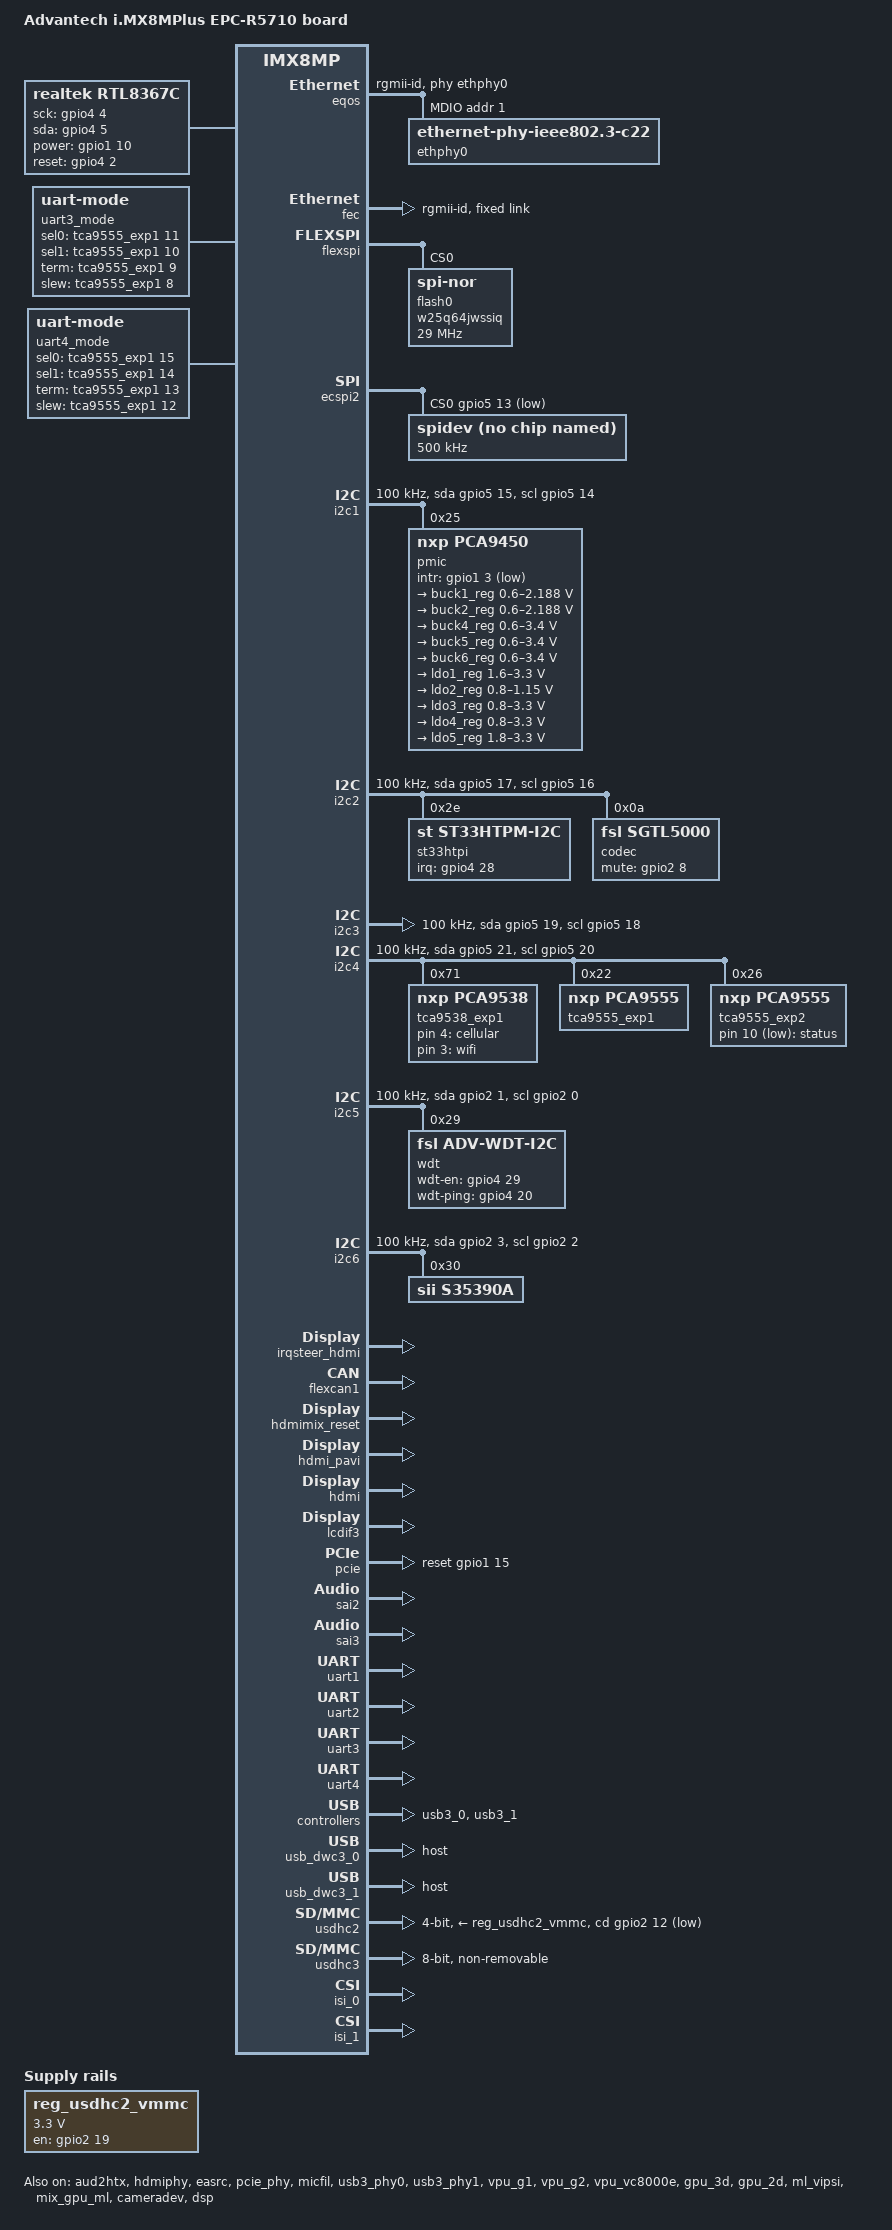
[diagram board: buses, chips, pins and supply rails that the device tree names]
// SPDX-License-Identifier: (GPL-2.0+ OR MIT)
/*
 * Copyright 2019 NXP
 */

/dts-v1/;

#include <dt-bindings/usb/pd.h>
#include "imx8mp.dtsi"

/ {
	model = "Advantech i.MX8MPlus EPC-R5710 board";
	compatible = "fsl,imx8mp-evk", "fsl,imx8mp";

	board {
		compatible = "proc-board";
		board-type = "EPC-R5710 A1";
		board-cpu = "IMX8MP";
	};

	aliases {
		rtc0 = &s35390a;
		rtc1 = &snvs_rtc;
	};

	reserved-memory {
		#address-cells = <2>;
		#size-cells = <2>;
		ranges;

		rpmsg_reserved: rpmsg@0x55800000 {
			no-map;
			reg = <0 0x55800000 0 0x800000>;
		};
	};

	chosen {
		stdout-path = &uart2;
	};

	reg_usdhc2_vmmc: regulator-usdhc2 {
		compatible = "regulator-fixed";
		regulator-name = "VSD_3V3";
		regulator-min-microvolt = <3300000>;
		regulator-max-microvolt = <3300000>;
		gpio = <&gpio2 19 GPIO_ACTIVE_HIGH>;
		enable-active-high;
		startup-delay-us = <100>;
		off-on-delay-us = <12000>;
	};

	sound-hdmi {
		compatible = "fsl,imx-audio-cdnhdmi";
		model = "audio-hdmi";
		audio-cpu = <&aud2htx>;
		hdmi-out;
		constraint-rate = <44100>,
				<88200>,
				<176400>,
				<32000>,
				<48000>,
				<96000>,
				<192000>;
		status = "okay";
	};

	sound {
		compatible = "fsl,sgtl5000", "fsl,imx-audio-sgtl5000";
		model = "sgtl5000";
		codec-master;
		ssi-controller = <&sai3>;
		audio-codec = <&codec>;
		audio-routing =
			"MIC_IN", "Mic Jack",
			"Mic Jack", "Mic Bias",
			"Line Out Jack", "LINE_OUT";
		no-audmux;
	};

	sound-micfil {
		compatible = "fsl,imx-audio-micfil";
		model = "imx-audio-micfil";
		cpu-dai = <&micfil>;
	};

	rtl8367c:rtl8367c {
		compatible = "realtek,rtl8367c";
		pinctrl-names = "default";
		pinctrl-0 = <&pinctrl_switch>;
		gpio-sck = <&gpio4 4 GPIO_ACTIVE_HIGH>;
		gpio-sda = <&gpio4 5 GPIO_ACTIVE_HIGH>;
		power-gpio = <&gpio1 10 GPIO_ACTIVE_HIGH>;
		reset-gpio = <&gpio4 2 GPIO_ACTIVE_HIGH>;
		status = "okay";
	};

	leds {
		compatible = "gpio-leds";
		status = "okay";

		status {
			label = "status";
			gpios = <&tca9555_exp2 10 GPIO_ACTIVE_LOW>;
			default-state = "off";
		};

		cellular {
			label = "cellular";
			gpios = <&tca9538_exp1 4 GPIO_ACTIVE_HIGH>;
			default-state = "off";
		};

		wifi {
			label = "wifi";
			gpios = <&tca9538_exp1 3 GPIO_ACTIVE_HIGH>;
			default-state = "off";
		};
	};

	uart3_mode:uart3-mode {
		compatible = "uart-mode";
		status = "okay";

		index = <2>;
		default_mode = <1>;//0:RS232,1:RS485,2:RS422
		rs232_mode_table = <1 0 1 0>;
		rs485_mode_table = <0 1 1 0>;
		rs422_mode_table = <1 1 1 0>;

		sel0_gpio = <&tca9555_exp1 11 GPIO_ACTIVE_HIGH>;
		sel1_gpio = <&tca9555_exp1 10 GPIO_ACTIVE_HIGH>;
		term_gpio = <&tca9555_exp1 9 GPIO_ACTIVE_HIGH>;
		slew_gpio = <&tca9555_exp1 8 GPIO_ACTIVE_HIGH>;
	};

	uart4_mode:uart4-mode {
		compatible = "uart-mode";
		status = "okay";

		index = <3>;
		default_mode = <1>;//0:RS232,1:RS485,2:RS422
		rs232_mode_table = <1 0 1 0>;
		rs485_mode_table = <0 1 1 0>;
		rs422_mode_table = <1 1 1 0>;

		sel0_gpio = <&tca9555_exp1 15 GPIO_ACTIVE_HIGH>;
		sel1_gpio = <&tca9555_exp1 14 GPIO_ACTIVE_HIGH>;
		term_gpio = <&tca9555_exp1 13 GPIO_ACTIVE_HIGH>;
		slew_gpio = <&tca9555_exp1 12 GPIO_ACTIVE_HIGH>;
	};
};

&aud2htx {
	status = "okay";
};

&clk {
	init-on-array = <IMX8MP_CLK_HSIO_ROOT>;
};

&A53_0 {
	cpu-supply = <&buck2_reg>;
};

&eqos {
	pinctrl-names = "default";
	pinctrl-0 = <&pinctrl_eqos>;
	phy-mode = "rgmii-id";
	phy-handle = <&ethphy0>;
	snps,reset-gpios = <&gpio4 25 GPIO_ACTIVE_LOW>;
	snps,reset-delays-us = <10000 70000 200000>;
	status = "okay";
	
	mdio {
		compatible = "snps,dwmac-mdio";
		#address-cells = <1>;
		#size-cells = <0>;

		ethphy0: ethernet-phy@1 {
			compatible = "ethernet-phy-ieee802.3-c22";
			reg = <1>;
			eee-broken-1000t;
			at803x,eee-disabled;
			at803x,vddio-1p8v;
		};
	};
};

&fec {
	pinctrl-names = "default";
	pinctrl-0 = <&pinctrl_fec>;
	phy-mode = "rgmii-id";
	//phy-handle = <&ethphy1>;
	fsl,magic-packet;
	status = "okay";
	fixed-link { 
		speed = <1000>;
		full-duplex;
  	};
};

&flexspi {
	pinctrl-names = "default";
	pinctrl-0 = <&pinctrl_flexspi0>;
	status = "okay";

	flash0: w25q64jwssiq@0 {
		reg = <0>;
		#address-cells = <1>;
		#size-cells = <1>;
		compatible = "jedec,spi-nor", "winbond,w25q64";
		spi-max-frequency = <29000000>;
		spi-tx-bus-width = <4>;
		spi-rx-bus-width = <4>;
	};
};

&ecspi2 {
	#address-cells = <1>;
	#size-cells = <0>;
	fsl,spi-num-chipselects = <1>;
	pinctrl-names = "default";
	pinctrl-0 = <&pinctrl_ecspi2 &pinctrl_ecspi2_cs>;
	cs-gpios = <&gpio5 13 GPIO_ACTIVE_LOW>;
	status = "okay";

	spidev@0 {
		compatible = "imx8,spidev";
		reg = <0>;
		spi-max-frequency = <500000>;
	};
};

&i2c1 {
	clock-frequency = <100000>;
	pinctrl-names = "default", "gpio";
	pinctrl-0 = <&pinctrl_i2c1>;
	pinctrl-1 = <&pinctrl_i2c1_gpio>;
	scl-gpios = <&gpio5 14 GPIO_ACTIVE_HIGH>;
	sda-gpios = <&gpio5 15 GPIO_ACTIVE_HIGH>;
	status = "okay";

	pmic: pca9450@25 {
		reg = <0x25>;
		compatible = "nxp,pca9450";
		/* PMIC PCA9450 PMIC_nINT GPIO1_IO3 */
		pinctrl-0 = <&pinctrl_pmic>;
		gpio_intr = <&gpio1 3 GPIO_ACTIVE_LOW>;

		regulators {
			#address-cells = <1>;
			#size-cells = <0>;

			pca9450,pmic-buck2-uses-i2c-dvs;
			/* Run/Standby voltage */
			pca9450,pmic-buck2-dvs-voltage = <950000>, <850000>;

			buck1_reg: regulator@0 {
				reg = <0>;
				regulator-compatible = "buck1";
				regulator-min-microvolt = <600000>;
				regulator-max-microvolt = <2187500>;
				regulator-boot-on;
				regulator-always-on;
				regulator-ramp-delay = <3125>;
			};

			buck2_reg: regulator@1 {
				reg = <1>;
				regulator-compatible = "buck2";
				regulator-min-microvolt = <600000>;
				regulator-max-microvolt = <2187500>;
				regulator-boot-on;
				regulator-always-on;
				regulator-ramp-delay = <3125>;
			};

			buck4_reg: regulator@3 {
				reg = <3>;
				regulator-compatible = "buck4";
				regulator-min-microvolt = <600000>;
				regulator-max-microvolt = <3400000>;
				regulator-boot-on;
				regulator-always-on;
			};

			buck5_reg: regulator@4 {
				reg = <4>;
				regulator-compatible = "buck5";
				regulator-min-microvolt = <600000>;
				regulator-max-microvolt = <3400000>;
				regulator-boot-on;
				regulator-always-on;
			};

			buck6_reg: regulator@5 {
				reg = <5>;
				regulator-compatible = "buck6";
				regulator-min-microvolt = <600000>;
				regulator-max-microvolt = <3400000>;
				regulator-boot-on;
				regulator-always-on;
			};

			ldo1_reg: regulator@6 {
				reg = <6>;
				regulator-compatible = "ldo1";
				regulator-min-microvolt = <1600000>;
				regulator-max-microvolt = <3300000>;
				regulator-boot-on;
				regulator-always-on;
			};

			ldo2_reg: regulator@7 {
				reg = <7>;
				regulator-compatible = "ldo2";
				regulator-min-microvolt = <800000>;
				regulator-max-microvolt = <1150000>;
				regulator-boot-on;
				regulator-always-on;
			};

			ldo3_reg: regulator@8 {
				reg = <8>;
				regulator-compatible = "ldo3";
				regulator-min-microvolt = <800000>;
				regulator-max-microvolt = <3300000>;
				regulator-boot-on;
				regulator-always-on;
			};

			ldo4_reg: regulator@9 {
				reg = <9>;
				regulator-compatible = "ldo4";
				regulator-min-microvolt = <800000>;
				regulator-max-microvolt = <3300000>;
				regulator-boot-on;
				regulator-always-on;
			};

			ldo5_reg: regulator@10 {
				reg = <10>;
				regulator-compatible = "ldo5";
				regulator-min-microvolt = <1800000>;
				regulator-max-microvolt = <3300000>;
			};
		};
	};
};

&i2c2 {
	clock-frequency = <100000>;
	pinctrl-names = "default", "gpio";
	pinctrl-0 = <&pinctrl_i2c2>;
	pinctrl-1 = <&pinctrl_i2c2_gpio>;
	scl-gpios = <&gpio5 16 GPIO_ACTIVE_HIGH>;
	sda-gpios = <&gpio5 17 GPIO_ACTIVE_HIGH>;
	status = "okay";
	st33htpi: st33htpi@2e {
		compatible = "st,st33htpm-i2c";
		reg = <0x2e>;
		pinctrl-names = "default";
		pinctrl-0 = <&pinctrl_tpm>;
		interrupt-parent = <&gpio4>;
		interrupts = <28 IRQ_TYPE_LEVEL_HIGH>;
	};
	codec: sgtl5000@a {
		compatible = "fsl,sgtl5000";
		reg = <0x0a>;
		pinctrl-0 = <&pinctrl_sgtl5000>;
		//mute-gpios = <&tca9555_exp2 3 GPIO_ACTIVE_HIGH>;//audio 
		mute-gpios = <&gpio2 8  GPIO_ACTIVE_HIGH>;//audio mute
		clocks = <&audiomix_clk IMX8MP_CLK_AUDIOMIX_SAI3_MCLK1>;
		clock-names = "mclk";
		pinctrl-names = "default";
	};
};

&i2c3 {
	clock-frequency = <100000>;
	pinctrl-names = "default", "gpio";
	pinctrl-0 = <&pinctrl_i2c3>;
	pinctrl-1 = <&pinctrl_i2c3_gpio>;
	scl-gpios = <&gpio5 18 GPIO_ACTIVE_HIGH>;
	sda-gpios = <&gpio5 19 GPIO_ACTIVE_HIGH>;
	status = "okay";
	
};

&i2c4 {
	clock-frequency = <100000>;
	pinctrl-names = "default", "gpio";
	pinctrl-0 = <&pinctrl_i2c4>;
	pinctrl-1 = <&pinctrl_i2c4_gpio>;
	scl-gpios = <&gpio5 20 GPIO_ACTIVE_HIGH>;
	sda-gpios = <&gpio5 21 GPIO_ACTIVE_HIGH>;
	status = "okay";
	tca9538_exp1: tca9538@71 {
		compatible = "nxp,pca9538";
		reg = <0x71>;
		gpio-controller;
		#gpio-cells = <2>;
	};

	tca9555_exp1: tca9555@22 {
		compatible = "nxp,pca9555";
		reg = <0x22>;
		gpio-controller;
		#gpio-cells = <2>;
	};

	tca9555_exp2: tca9555@26 {
		compatible = "nxp,pca9555";
		reg = <0x26>;
		gpio-controller;
		#gpio-cells = <2>;
	};
};

&i2c5 {
	clock-frequency = <100000>;
	pinctrl-names = "default";
	pinctrl-0 = <&pinctrl_i2c5>;
	pinctrl-1 = <&pinctrl_i2c5_gpio>;
	scl-gpios = <&gpio2 0 GPIO_ACTIVE_HIGH>;
	sda-gpios = <&gpio2 1 GPIO_ACTIVE_HIGH>;
	status = "okay";

	wdt: msp430g2202@29 {
		compatible = "fsl,adv-wdt-i2c";
		reg = <0x29>;
		pinctrl-names = "default";
		pinctrl-0 = <&pinctrl_wdt_en_1 &pinctrl_wdt_ping_1>;
		fix-first-comm-issue;
		wdt-en = <&gpio4 29 0>;
		wdt-ping = <&gpio4 20 0>;
		status = "okay";
	};
	
};	

&i2c6 {
	clock-frequency = <100000>;
	pinctrl-names = "default";
	pinctrl-0 = <&pinctrl_i2c6>;
	pinctrl-1 = <&pinctrl_i2c6_gpio>;
	scl-gpios = <&gpio2 2 GPIO_ACTIVE_HIGH>;
	sda-gpios = <&gpio2 3 GPIO_ACTIVE_HIGH>;
	status = "okay";

	s35390a: s35390a@30 {
		compatible = "sii,s35390a";
		reg = <0x30>;
		status = "okay";
	};
	
};
&irqsteer_hdmi {
	status = "okay";
};

&flexcan1 {
	pinctrl-names = "default";
	pinctrl-0 = <&pinctrl_flexcan1>;
	status = "okay";
};

&hdmimix_clk {
	status = "okay";
};

&hdmimix_reset {
	status = "okay";
};

&hdmi_pavi {
	status = "okay";
};

&hdmi {
	status = "okay";
};

&hdmiphy {
	tx_vl_5c = <0x29>;	//For SI test
	tx_vl_60 = <0x52>;	//For SI test
	status = "okay";
};


&lcdif3 {
	status = "okay";

	thres-low  = <1 2>;             /* (FIFO * 1 / 2) */
	thres-high = <3 4>;             /* (FIFO * 3 / 4) */
};

&ldb {
	status = "disabled";
};

&ldb_phy {
	status = "disabled";
};

&mipi_dsi {
	status = "disabled";
};

&easrc {
	fsl,asrc-rate  = <48000>;
	status = "okay";
};

&pcie{
	pinctrl-names = "default";
	pinctrl-0 = <&pinctrl_pcie>;
	//clkreq-gpio	= <&gpio5 20 GPIO_ACTIVE_HIGH>;	/* PCIE_CLKREQ# */
	power-on-gpio	= <&gpio1 9 GPIO_ACTIVE_LOW>;	/* M2_PWR_EN */
	disable-gpio	= <&tca9555_exp2 13 GPIO_ACTIVE_LOW>;	/* M2_W_DIS1# */
	bt-disable-gpio	= <&tca9555_exp2 12 GPIO_ACTIVE_LOW>;	/* M2_BT_DIS1# */
	reset-gpio	= <&gpio1 15 GPIO_ACTIVE_HIGH>;	/* M2_RESET# */
	power-on-gpio-5g = <&gpio1 11 GPIO_ACTIVE_LOW>;	/*5G_POWER_EN */
	usb-host-pwr-en = <&gpio1 5 GPIO_ACTIVE_LOW>; /* MINICARD_PWR_EN */
	ext_osc = <1>;
	clocks = <&clk IMX8MP_CLK_HSIO_AXI_DIV>,
		 <&clk IMX8MP_CLK_PCIE_AUX>,
		 <&clk IMX8MP_CLK_PCIE_PHY>,
		 <&clk IMX8MP_CLK_PCIE_ROOT>;
	clock-names = "pcie", "pcie_aux", "pcie_phy", "pcie_bus";
	assigned-clocks = <&clk IMX8MP_CLK_HSIO_AXI_SRC>,
			  <&clk IMX8MP_CLK_PCIE_AUX>;
	assigned-clock-parents = <&clk IMX8MP_SYS_PLL2_500M>,
				 <&clk IMX8MP_SYS_PLL2_50M>;
	status = "okay";
};

&pcie_phy{
	ext_osc = <1>;
	tx_drv_lvl_ctrl_g1 = <0x38>;	//For SI test
	status = "okay";
};

&sai2 {
	pinctrl-names = "default";
	pinctrl-0 = <&pinctrl_sai2>;
	assigned-clocks = <&clk IMX8MP_CLK_SAI2>;
	assigned-clock-parents = <&clk IMX8MP_AUDIO_PLL1_OUT>;
	assigned-clock-rates = <12288000>;
	clocks = <&audiomix_clk IMX8MP_CLK_AUDIOMIX_SAI2_IPG>, <&clk IMX8MP_CLK_DUMMY>,
		 <&audiomix_clk IMX8MP_CLK_AUDIOMIX_SAI2_MCLK1>, <&clk IMX8MP_CLK_DUMMY>,
		 <&clk IMX8MP_CLK_DUMMY>;
	clock-names = "bus", "mclk0", "mclk1", "mclk2", "mclk3";
	status = "okay";
};

&sai3 {
	pinctrl-names = "default";
	pinctrl-0 = <&pinctrl_sai3>;
	assigned-clocks = <&clk IMX8MP_CLK_SAI3>;
	assigned-clock-parents = <&clk IMX8MP_AUDIO_PLL1_OUT>;
	assigned-clock-rates = <12288000>;
	clocks = <&audiomix_clk IMX8MP_CLK_AUDIOMIX_SAI3_IPG>, <&clk IMX8MP_CLK_DUMMY>,
		 <&audiomix_clk IMX8MP_CLK_AUDIOMIX_SAI3_MCLK1>, <&clk IMX8MP_CLK_DUMMY>,
		 <&clk IMX8MP_CLK_DUMMY>;
	clock-names = "bus", "mclk0", "mclk1", "mclk2", "mclk3";
	fsl,sai-mclk-direction-output;
	status = "okay";
};
&micfil {
	pinctrl-names = "default";
	pinctrl-0 = <&pinctrl_pdm>;
	assigned-clocks = <&clk IMX8MP_CLK_PDM>;
	assigned-clock-parents = <&clk IMX8MP_AUDIO_PLL1_OUT>;
	assigned-clock-rates = <196608000>;
	status = "okay";
};
&sdma2 {
	status = "okay";
};

&uart1 { /* BT */
	pinctrl-names = "default";
	pinctrl-0 = <&pinctrl_uart1>;
	assigned-clocks = <&clk IMX8MP_CLK_UART1>;
	assigned-clock-parents = <&clk IMX8MP_SYS_PLL1_80M>;
	fsl,uart-has-rtscts;
	status = "okay";
};

&uart2 {
	/* console */
	pinctrl-names = "default";
	pinctrl-0 = <&pinctrl_uart2>;
	status = "okay";
};

&uart3 {
	pinctrl-names = "default";
	pinctrl-0 = <&pinctrl_uart3>;
	assigned-clocks = <&clk IMX8MP_CLK_UART3>;
	assigned-clock-parents = <&clk IMX8MP_SYS_PLL1_80M>;
	fsl,uart-has-rtscts;
	rs485-rts-active-low;
	status = "okay";
};

&uart4 {
	pinctrl-names = "default";
	pinctrl-0 = <&pinctrl_uart4>;
	rs485-dir-gpios = <&gpio2 9 GPIO_ACTIVE_HIGH>;
	rs485-rts-active-low;
	en-gpio = <&gpio4 24 GPIO_ACTIVE_HIGH>;
	status = "okay";
};

&usb3_phy0 {
	fsl,phy-tx-vboost-tune = <3>;
	fsl,phy-tx-vref-tune = <6>;
	fsl,phy-tx-rise-tune = <0>;
	fsl,phy-tx-preemp-amp-tune = <3>;
	fsl,phy-comp-dis-tune = <7>;
	fsl,pcs-tx-deemph-3p5db = <0x21>;
	fsl,phy-pcs-tx-swing-full = <0x7f>;
	status = "okay";
};

&usb3_0 {
	status = "okay";
};

&usb_dwc3_0 {
	dr_mode = "host";
	status = "okay";
};

&usb3_phy1 {
	fsl,phy-tx-preemp-amp-tune = <2>;
	status = "okay";
};

&usb3_1 {
	status = "okay";
};

&usb_dwc3_1 {
	dr_mode = "host";
	status = "okay";
};

&usdhc2 {
	pinctrl-names = "default", "state_100mhz", "state_200mhz";
	pinctrl-0 = <&pinctrl_usdhc2>, <&pinctrl_usdhc2_gpio>;
	pinctrl-1 = <&pinctrl_usdhc2_100mhz>, <&pinctrl_usdhc2_gpio>;
	pinctrl-2 = <&pinctrl_usdhc2_200mhz>, <&pinctrl_usdhc2_gpio>;
	cd-gpios = <&gpio2 12 GPIO_ACTIVE_LOW>;
	vmmc-supply = <&reg_usdhc2_vmmc>;
	bus-width = <4>;
	status = "okay";
};

&usdhc3 {
	pinctrl-names = "default", "state_100mhz", "state_200mhz";
	pinctrl-0 = <&pinctrl_usdhc3>;
	pinctrl-1 = <&pinctrl_usdhc3_100mhz>;
	pinctrl-2 = <&pinctrl_usdhc3_200mhz>;
	bus-width = <8>;
	cqe-disabled;
	non-removable;
	status = "okay";
};

&wdog1 {
	pinctrl-names = "default";
	pinctrl-0 = <&pinctrl_wdog>;
	fsl,ext-reset-output;
	status = "disabled";
};

&iomuxc {
	pinctrl-names = "default";
	pinctrl-0 = <&pinctrl_hog>;

	pinctrl_hog: hoggrp {
		fsl,pins = <
			MX8MP_IOMUXC_HDMI_DDC_SCL__HDMIMIX_HDMI_SCL	0x400001c3
			MX8MP_IOMUXC_HDMI_DDC_SDA__HDMIMIX_HDMI_SDA	0x400001c3
			MX8MP_IOMUXC_HDMI_HPD__HDMIMIX_HDMI_HPD		0x40000019
			MX8MP_IOMUXC_HDMI_CEC__HDMIMIX_HDMI_CEC		0x40000019
			MX8MP_IOMUXC_SD1_DATA4__GPIO2_IO06	0x1c4	/* I2C_EXP_INT0# */
			MX8MP_IOMUXC_SD1_DATA5__GPIO2_IO07	0x1c4	/* I2C_EXP_INT1# */
			MX8MP_IOMUXC_SPDIF_EXT_CLK__GPIO5_IO05	0x1c4	/* UART1_WAKE# */
			MX8MP_IOMUXC_GPIO1_IO00__GPIO1_IO00	0x1c4	/* M_PCIE_WAKE */
		>;
	};
	pinctrl_ecspi2: ecspi2grp {
		fsl,pins = <
			MX8MP_IOMUXC_ECSPI2_SCLK__ECSPI2_SCLK		0x82
			MX8MP_IOMUXC_ECSPI2_MOSI__ECSPI2_MOSI		0x82
			MX8MP_IOMUXC_ECSPI2_MISO__ECSPI2_MISO		0x82
		>;
	};

	pinctrl_ecspi2_cs: ecspi2cs {
		fsl,pins = <
			MX8MP_IOMUXC_ECSPI2_SS0__GPIO5_IO13		0x40000
		>;
	};
	pinctrl_eqos: eqosgrp {
		fsl,pins = <
			MX8MP_IOMUXC_ENET_MDC__ENET_QOS_MDC	0x3
			MX8MP_IOMUXC_ENET_MDIO__ENET_QOS_MDIO	0x3
			MX8MP_IOMUXC_ENET_RD0__ENET_QOS_RGMII_RD0	0x91
			MX8MP_IOMUXC_ENET_RD1__ENET_QOS_RGMII_RD1	0x91
			MX8MP_IOMUXC_ENET_RD2__ENET_QOS_RGMII_RD2	0x91
			MX8MP_IOMUXC_ENET_RD3__ENET_QOS_RGMII_RD3	0x91
			MX8MP_IOMUXC_ENET_RXC__CCM_ENET_QOS_CLOCK_GENERATE_RX_CLK	0x91
			MX8MP_IOMUXC_ENET_RX_CTL__ENET_QOS_RGMII_RX_CTL	0x91
			MX8MP_IOMUXC_ENET_TD0__ENET_QOS_RGMII_TD0		0x1f
			MX8MP_IOMUXC_ENET_TD1__ENET_QOS_RGMII_TD1		0x1f
			MX8MP_IOMUXC_ENET_TD2__ENET_QOS_RGMII_TD2		0x1f
			MX8MP_IOMUXC_ENET_TD3__ENET_QOS_RGMII_TD3		0x1f
			MX8MP_IOMUXC_ENET_TX_CTL__ENET_QOS_RGMII_TX_CTL	0x1f
			MX8MP_IOMUXC_ENET_TXC__CCM_ENET_QOS_CLOCK_GENERATE_TX_CLK	0x1f
			MX8MP_IOMUXC_SAI2_TXC__GPIO4_IO25		0x19	/* ENET_RESET#_IMX */
			MX8MP_IOMUXC_GPIO1_IO07__GPIO1_IO07		0x1c4	/* ENET_INT# */
		>;
	};


	pinctrl_fec: fecgrp {
		fsl,pins = <
			MX8MP_IOMUXC_SAI1_RXD4__ENET1_RGMII_RD0		0x91
			MX8MP_IOMUXC_SAI1_RXD5__ENET1_RGMII_RD1		0x91
			MX8MP_IOMUXC_SAI1_RXD6__ENET1_RGMII_RD2		0x91
			MX8MP_IOMUXC_SAI1_RXD7__ENET1_RGMII_RD3		0x91
			MX8MP_IOMUXC_SAI1_TXC__ENET1_RGMII_RXC		0x91
			MX8MP_IOMUXC_SAI1_TXFS__ENET1_RGMII_RX_CTL	0x91
			MX8MP_IOMUXC_SAI1_TXD0__ENET1_RGMII_TD0		0x1f
			MX8MP_IOMUXC_SAI1_TXD1__ENET1_RGMII_TD1		0x1f
			MX8MP_IOMUXC_SAI1_TXD2__ENET1_RGMII_TD2		0x1f
			MX8MP_IOMUXC_SAI1_TXD3__ENET1_RGMII_TD3		0x1f
			MX8MP_IOMUXC_SAI1_TXD4__ENET1_RGMII_TX_CTL	0x1f
			MX8MP_IOMUXC_SAI1_TXD5__ENET1_RGMII_TXC		0x1f
		//	MX8MP_IOMUXC_SAI1_RXD0__GPIO4_IO02		0x19	/* ENET1_RESET#_IMX */
			MX8MP_IOMUXC_GPIO1_IO06__GPIO1_IO06		0x1c4	/* ENET1_INT# */
		>;
	};

	pinctrl_switch: switch {
		fsl,pins = <
			MX8MP_IOMUXC_SAI1_RXD0__GPIO4_IO02	0x19
			MX8MP_IOMUXC_SAI1_RXD2__GPIO4_IO04	0x19
			MX8MP_IOMUXC_SAI1_RXD3__GPIO4_IO05	0x19
			MX8MP_IOMUXC_GPIO1_IO10__GPIO1_IO10	0x19
		>;
	};

	pinctrl_flexcan1: flexcan1grp {
		fsl,pins = <
			MX8MP_IOMUXC_SPDIF_RX__CAN1_RX          0x154
			MX8MP_IOMUXC_SPDIF_TX__CAN1_TX          0x154
		>;
	};

	pinctrl_flexspi0: flexspi0grp {
		fsl,pins = <
			MX8MP_IOMUXC_NAND_ALE__FLEXSPI_A_SCLK		0x1c2
			MX8MP_IOMUXC_NAND_CE0_B__FLEXSPI_A_SS0_B	0x82
			MX8MP_IOMUXC_NAND_DATA00__FLEXSPI_A_DATA00	0x82
			MX8MP_IOMUXC_NAND_DATA01__FLEXSPI_A_DATA01	0x82
			MX8MP_IOMUXC_NAND_DATA02__FLEXSPI_A_DATA02	0x82
			MX8MP_IOMUXC_NAND_DATA03__FLEXSPI_A_DATA03	0x82
		>;
	};
	pinctrl_sgtl5000: sgtl5000_grp  {
		fsl,pins = <
			MX8MP_IOMUXC_SD1_DATA6__GPIO2_IO08		0x19
		>;
	};
	pinctrl_i2c1: i2c1grp {
		fsl,pins = <
			MX8MP_IOMUXC_I2C1_SCL__I2C1_SCL		0x400001c3
			MX8MP_IOMUXC_I2C1_SDA__I2C1_SDA		0x400001c3
		>;
	};

	pinctrl_i2c1_gpio: i2c1_gpio_grp  {
		fsl,pins = <
			MX8MP_IOMUXC_I2C1_SCL__GPIO5_IO14		0x19
			MX8MP_IOMUXC_I2C1_SDA__GPIO5_IO15		0x19
		>;
	};

	pinctrl_i2c2: i2c2grp {
		fsl,pins = <
			MX8MP_IOMUXC_I2C2_SCL__I2C2_SCL			0x400001c3
			MX8MP_IOMUXC_I2C2_SDA__I2C2_SDA			0x400001c3
		>;
	};

	pinctrl_i2c2_gpio: i2c2_gpio_grp  {
		fsl,pins = <
			MX8MP_IOMUXC_I2C2_SCL__GPIO5_IO16		0x19
			MX8MP_IOMUXC_I2C2_SDA__GPIO5_IO17		0x19
		>;
	};

	pinctrl_i2c3: i2c3grp {
		fsl,pins = <
			MX8MP_IOMUXC_I2C3_SCL__I2C3_SCL			0x400001c3
			MX8MP_IOMUXC_I2C3_SDA__I2C3_SDA			0x400001c3
		>;
	};

	pinctrl_i2c3_gpio: i2c3_gpio_grp  {
		fsl,pins = <
			MX8MP_IOMUXC_I2C3_SCL__GPIO5_IO18		0x19
			MX8MP_IOMUXC_I2C3_SDA__GPIO5_IO19		0x19
		>;
	};

	pinctrl_i2c4: i2c4grp {
		fsl,pins = <
			MX8MP_IOMUXC_SD1_DATA2__I2C4_SCL			0x400001c3
			MX8MP_IOMUXC_SD1_DATA3__I2C4_SDA			0x400001c3
		>;
	};

	pinctrl_i2c4_gpio: i2c4_gpio_grp  {
		fsl,pins = <
			MX8MP_IOMUXC_SD1_DATA2__GPIO2_IO04		0x19
			MX8MP_IOMUXC_SD1_DATA3__GPIO2_IO05		0x19
		>;
	};
	pinctrl_i2c5: i2c5grp {
		fsl,pins = <
			MX8MP_IOMUXC_SD1_CLK__I2C5_SCL				0x400001c3
			MX8MP_IOMUXC_SD1_CMD__I2C5_SDA				0x400001c3
		>;
	};
	pinctrl_i2c5_gpio: i2c5_gpio_grp  {
		fsl,pins = <
			MX8MP_IOMUXC_SD1_CLK__GPIO2_IO00		0x19
			MX8MP_IOMUXC_SD1_CMD__GPIO2_IO01		0x19
		>;
	};
	pinctrl_i2c6: i2c6grp {
		fsl,pins = <
			MX8MP_IOMUXC_SD1_DATA0__I2C6_SCL			0x400001c3
			MX8MP_IOMUXC_SD1_DATA1__I2C6_SDA			0x400001c3
		>;
	};
	pinctrl_i2c6_gpio: i2c6_gpio_grp  {
		fsl,pins = <
			MX8MP_IOMUXC_SD1_DATA0__GPIO2_IO02		0x19
			MX8MP_IOMUXC_SD1_DATA1__GPIO2_IO03		0x19
		>;
	};
	pinctrl_pcie: pciegrp {
		fsl,pins = <
			MX8MP_IOMUXC_I2C4_SCL__PCIE_CLKREQ_B		0x61 	/* PCIE_CLKREQ# */
			MX8MP_IOMUXC_GPIO1_IO09__GPIO1_IO09		0x41	/* M2_PWR_EN */
			MX8MP_IOMUXC_GPIO1_IO15__GPIO1_IO15		0x41	/* M2_RESET# */
			MX8MP_IOMUXC_I2C4_SDA__GPIO5_IO21		0x41	/* WAKEUP_HOST_5G# */
			MX8MP_IOMUXC_GPIO1_IO11__GPIO1_IO11		0x41	/* 5G_POWER_EN */
			MX8MP_IOMUXC_GPIO1_IO12__GPIO1_IO12		0x41	/* 5G_POWER_OFF#*/
			MX8MP_IOMUXC_GPIO1_IO13__GPIO1_IO13		0x41	/* 5G_RESET*/
			MX8MP_IOMUXC_GPIO1_IO05__GPIO1_IO05		0x41	/* MINICARD_PWR_EN */
			MX8MP_IOMUXC_GPIO1_IO14__GPIO1_IO14		0x41	/* MINICARD_RESET# */
			/*MX8MP_IOMUXC_GPIO1_IO07__GPIO1_IO07		0x41*/	/* MINICARD_W_DIS# */
			MX8MP_IOMUXC_GPIO1_IO08__GPIO1_IO08		0x41	/* MINICARD_DET# */
		>;
	};


	pinctrl_pmic: pmicirq {
		fsl,pins = <
			MX8MP_IOMUXC_GPIO1_IO03__GPIO1_IO03	0x41
		>;
	};

	pinctrl_sai2: sai2grp {
		fsl,pins = <		
			MX8MP_IOMUXC_SAI2_RXFS__AUDIOMIX_SAI2_RX_SYNC		0xd6
			MX8MP_IOMUXC_SAI2_RXC__AUDIOMIX_SAI2_RX_BCLK		0xd6
			MX8MP_IOMUXC_SAI2_RXD0__AUDIOMIX_SAI2_RX_DATA00		0xd6
			MX8MP_IOMUXC_SAI2_MCLK__AUDIOMIX_SAI2_MCLK 		0xd6
		>;
	};


	pinctrl_sai3: sai3grp {
		fsl,pins = <
			MX8MP_IOMUXC_SAI3_TXFS__AUDIOMIX_SAI3_TX_SYNC	0xd6
			MX8MP_IOMUXC_SAI3_TXC__AUDIOMIX_SAI3_TX_BCLK	0xd6
			MX8MP_IOMUXC_SAI3_RXD__AUDIOMIX_SAI3_RX_DATA00	0xd6
			MX8MP_IOMUXC_SAI3_TXD__AUDIOMIX_SAI3_TX_DATA00	0xd6
			MX8MP_IOMUXC_SAI3_MCLK__AUDIOMIX_SAI3_MCLK	0xd6
		>;
	};
	pinctrl_pdm: pdmgrp {
		fsl,pins = <
			MX8MP_IOMUXC_SAI5_MCLK__AUDIOMIX_SAI5_MCLK	0xd6
			MX8MP_IOMUXC_SAI5_RXC__AUDIOMIX_PDM_CLK		0xd6
			MX8MP_IOMUXC_SAI5_RXFS__AUDIOMIX_SAI5_RX_SYNC	0xd6
			MX8MP_IOMUXC_SAI5_RXD0__AUDIOMIX_PDM_BIT_STREAM00	0xd6
			MX8MP_IOMUXC_SAI5_RXD1__AUDIOMIX_PDM_BIT_STREAM01	0xd6
			MX8MP_IOMUXC_SAI5_RXD2__AUDIOMIX_PDM_BIT_STREAM02	0xd6
			MX8MP_IOMUXC_SAI5_RXD3__AUDIOMIX_PDM_BIT_STREAM03	0xd6
		>;
	};
	pinctrl_uart1: uart1grp {
		fsl,pins = <
			MX8MP_IOMUXC_UART1_RXD__UART1_DCE_RX	0x140
			MX8MP_IOMUXC_UART1_TXD__UART1_DCE_TX	0x140
			MX8MP_IOMUXC_UART3_RXD__UART1_DCE_CTS	0x140
			MX8MP_IOMUXC_UART3_TXD__UART1_DCE_RTS	0x140
		>;
	};

	pinctrl_uart2: uart2grp {
		fsl,pins = <
			MX8MP_IOMUXC_UART2_RXD__UART2_DCE_RX	0x49
			MX8MP_IOMUXC_UART2_TXD__UART2_DCE_TX	0x49
		>;
	};

	pinctrl_uart3: uart3grp {
		fsl,pins = <
			MX8MP_IOMUXC_ECSPI1_SCLK__UART3_DCE_RX		0x140
			MX8MP_IOMUXC_ECSPI1_MOSI__UART3_DCE_TX		0x140
			MX8MP_IOMUXC_ECSPI1_SS0__UART3_DCE_RTS		0x140
			MX8MP_IOMUXC_ECSPI1_MISO__UART3_DCE_CTS		0x140
			MX8MP_IOMUXC_SAI2_TXFS__GPIO4_IO24		0x19
		>;
	};

	pinctrl_uart4: uart4grp {
		fsl,pins = <
			MX8MP_IOMUXC_UART4_RXD__UART4_DCE_RX	0x49
			MX8MP_IOMUXC_UART4_TXD__UART4_DCE_TX	0x49
			MX8MP_IOMUXC_SD1_DATA7__GPIO2_IO09	0x19
		>;
	};


	pinctrl_usdhc2_gpio: usdhc2grp-gpio {
		fsl,pins = <
			MX8MP_IOMUXC_SD2_CD_B__GPIO2_IO12 	0x1c4
			MX8MP_IOMUXC_SD2_RESET_B__GPIO2_IO19	0x41
		>;
	};

	pinctrl_usdhc2: usdhc2grp {
		fsl,pins = <
			MX8MP_IOMUXC_SD2_CLK__USDHC2_CLK	0x190
			MX8MP_IOMUXC_SD2_CMD__USDHC2_CMD	0x1d0
			MX8MP_IOMUXC_SD2_DATA0__USDHC2_DATA0	0x1d0
			MX8MP_IOMUXC_SD2_DATA1__USDHC2_DATA1	0x1d0
			MX8MP_IOMUXC_SD2_DATA2__USDHC2_DATA2	0x1d0
			MX8MP_IOMUXC_SD2_DATA3__USDHC2_DATA3	0x1d0
			MX8MP_IOMUXC_GPIO1_IO04__USDHC2_VSELECT	0xc1
		>;
	};

	pinctrl_usdhc2_100mhz: usdhc2grp-100mhz {
		fsl,pins = <
			MX8MP_IOMUXC_SD2_CLK__USDHC2_CLK	0x194
			MX8MP_IOMUXC_SD2_CMD__USDHC2_CMD	0x1d4
			MX8MP_IOMUXC_SD2_DATA0__USDHC2_DATA0	0x1d4
			MX8MP_IOMUXC_SD2_DATA1__USDHC2_DATA1	0x1d4
			MX8MP_IOMUXC_SD2_DATA2__USDHC2_DATA2	0x1d4
			MX8MP_IOMUXC_SD2_DATA3__USDHC2_DATA3	0x1d4
			MX8MP_IOMUXC_GPIO1_IO04__USDHC2_VSELECT 0xc1
		>;
	};

	pinctrl_usdhc2_200mhz: usdhc2grp-200mhz {
		fsl,pins = <
			MX8MP_IOMUXC_SD2_CLK__USDHC2_CLK	0x196
			MX8MP_IOMUXC_SD2_CMD__USDHC2_CMD	0x1d6
			MX8MP_IOMUXC_SD2_DATA0__USDHC2_DATA0	0x1d6
			MX8MP_IOMUXC_SD2_DATA1__USDHC2_DATA1	0x1d6
			MX8MP_IOMUXC_SD2_DATA2__USDHC2_DATA2	0x1d6
			MX8MP_IOMUXC_SD2_DATA3__USDHC2_DATA3	0x1d6
			MX8MP_IOMUXC_GPIO1_IO04__USDHC2_VSELECT 0xc1
		>;
	};

	pinctrl_usdhc3: usdhc3grp {
		fsl,pins = <
			MX8MP_IOMUXC_NAND_WE_B__USDHC3_CLK	0x190
			MX8MP_IOMUXC_NAND_WP_B__USDHC3_CMD	0x1d0
			MX8MP_IOMUXC_NAND_DATA04__USDHC3_DATA0	0x1d0
			MX8MP_IOMUXC_NAND_DATA05__USDHC3_DATA1	0x1d0
			MX8MP_IOMUXC_NAND_DATA06__USDHC3_DATA2	0x1d0
			MX8MP_IOMUXC_NAND_DATA07__USDHC3_DATA3	0x1d0
			MX8MP_IOMUXC_NAND_RE_B__USDHC3_DATA4	0x1d0
			MX8MP_IOMUXC_NAND_CE2_B__USDHC3_DATA5	0x1d0
			MX8MP_IOMUXC_NAND_CE3_B__USDHC3_DATA6	0x1d0
			MX8MP_IOMUXC_NAND_CLE__USDHC3_DATA7	0x1d0
			MX8MP_IOMUXC_NAND_CE1_B__USDHC3_STROBE	0x190
		>;
	};

	pinctrl_usdhc3_100mhz: usdhc3grp-100mhz {
		fsl,pins = <
			MX8MP_IOMUXC_NAND_WE_B__USDHC3_CLK	0x194
			MX8MP_IOMUXC_NAND_WP_B__USDHC3_CMD	0x1d4
			MX8MP_IOMUXC_NAND_DATA04__USDHC3_DATA0	0x1d4
			MX8MP_IOMUXC_NAND_DATA05__USDHC3_DATA1	0x1d4
			MX8MP_IOMUXC_NAND_DATA06__USDHC3_DATA2	0x1d4
			MX8MP_IOMUXC_NAND_DATA07__USDHC3_DATA3	0x1d4
			MX8MP_IOMUXC_NAND_RE_B__USDHC3_DATA4	0x1d4
			MX8MP_IOMUXC_NAND_CE2_B__USDHC3_DATA5	0x1d4
			MX8MP_IOMUXC_NAND_CE3_B__USDHC3_DATA6	0x1d4
			MX8MP_IOMUXC_NAND_CLE__USDHC3_DATA7	0x1d4
			MX8MP_IOMUXC_NAND_CE1_B__USDHC3_STROBE	0x194
		>;
	};

	pinctrl_usdhc3_200mhz: usdhc3grp-200mhz {
		fsl,pins = <
			MX8MP_IOMUXC_NAND_WE_B__USDHC3_CLK	0x196
			MX8MP_IOMUXC_NAND_WP_B__USDHC3_CMD	0x1d6
			MX8MP_IOMUXC_NAND_DATA04__USDHC3_DATA0	0x1d6
			MX8MP_IOMUXC_NAND_DATA05__USDHC3_DATA1	0x1d6
			MX8MP_IOMUXC_NAND_DATA06__USDHC3_DATA2	0x1d6
			MX8MP_IOMUXC_NAND_DATA07__USDHC3_DATA3	0x1d6
			MX8MP_IOMUXC_NAND_RE_B__USDHC3_DATA4	0x1d6
			MX8MP_IOMUXC_NAND_CE2_B__USDHC3_DATA5	0x1d6
			MX8MP_IOMUXC_NAND_CE3_B__USDHC3_DATA6	0x1d6
			MX8MP_IOMUXC_NAND_CLE__USDHC3_DATA7	0x1d6
			MX8MP_IOMUXC_NAND_CE1_B__USDHC3_STROBE	0x196
		>;
	};

	pinctrl_wdog: wdoggrp {
		fsl,pins = <
			MX8MP_IOMUXC_GPIO1_IO02__WDOG1_WDOG_B	0xc6
		>;
	};
	pinctrl_wdt_en_1: wdt_engrp-1 {
		fsl,pins = <
			MX8MP_IOMUXC_SAI3_RXC__GPIO4_IO29      0x19    /* WDT_EN_1V8 */
		>;
	};

	pinctrl_wdt_ping_1: wdt_pinggrp-1 {
		fsl,pins = <
			MX8MP_IOMUXC_SAI1_MCLK__GPIO4_IO20      0x19    /* WDT_TRIG_1V8 */
		>;
	};

	pinctrl_tpm: tpm_grp {
		fsl,pins = <
			MX8MP_IOMUXC_SAI2_TXD0__GPIO4_IO26      0x19    /* TPM_PRESENSE_1V8 */
			MX8MP_IOMUXC_SAI3_RXFS__GPIO4_IO28      0x19    /* TPM_IRQ#_1V8 */
		>;
	};
};

&vpu_g1 {
	status = "okay";
};

&vpu_g2 {
	status = "okay";
};

&vpu_vc8000e {
	status = "okay";
};

&gpu_3d {
	status = "okay";
};

&gpu_2d {
	status = "okay";
};

&ml_vipsi {
	status = "okay";
};

&mix_gpu_ml {
	status = "okay";
};

&cameradev {
	status = "okay";
};

&isi_0 {
	status = "okay";

	cap_device {
		status = "okay";
	};
};

&isi_1 {
	status = "okay";

	cap_device {
		status = "okay";
	};
};

&dsp {
	status = "okay";
};

